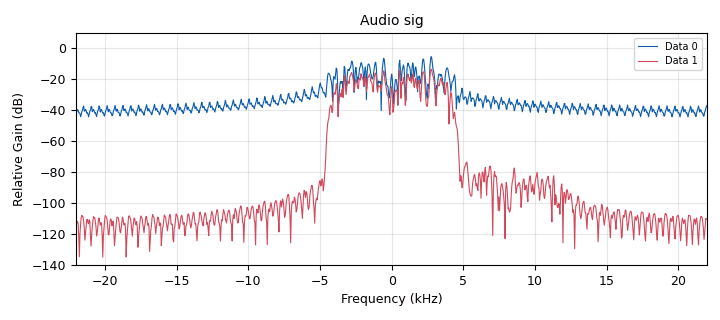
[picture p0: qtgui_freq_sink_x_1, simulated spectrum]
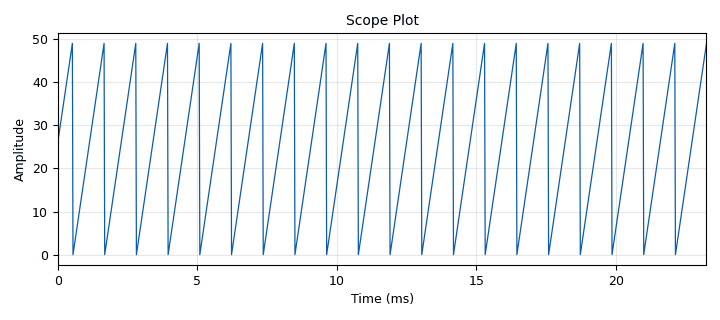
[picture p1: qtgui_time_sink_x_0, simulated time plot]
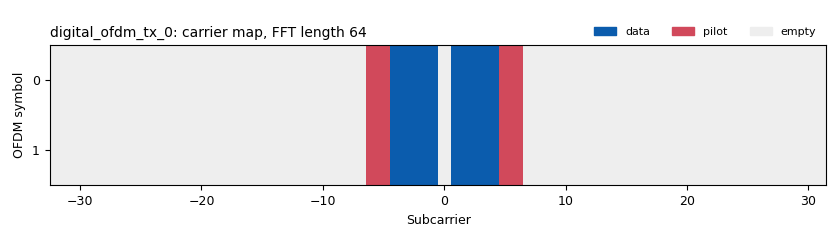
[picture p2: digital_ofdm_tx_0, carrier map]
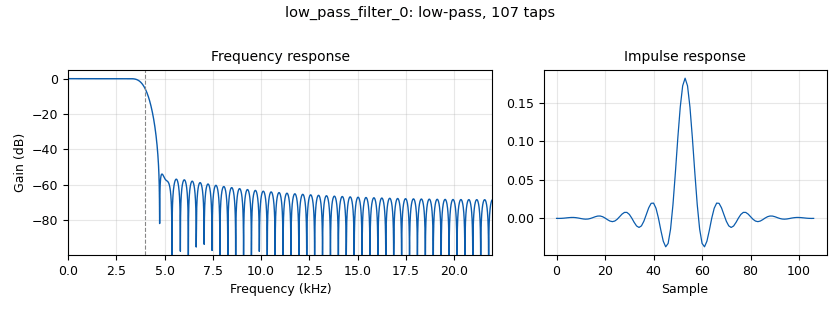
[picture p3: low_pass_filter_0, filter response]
options:
  parameters:
    category: Custom
    description: Transmit a pre-defined signal (a complex sine) as OFDM packets.
    generate_options: qt_gui
    id: ofdm_loopback_example
    output_language: python
    title: OFDM Loopback Example
  states: {}

blocks:
- name: fft_len
  id: variable
  parameters:
    value: '64'
  states: {}
- name: freq_offset
  id: variable_qtgui_range
  parameters:
    label: Frequency Offset (Multiples of Sub-carrier spacing)
    start: '-3'
    step: '.01'
    stop: '3'
    value: '0'
  states: {}
- name: len_tag_key
  id: variable
  parameters:
    value: '"packet_len"'
  states: {}
- name: noise_voltage
  id: variable_qtgui_range
  parameters:
    label: Noise Amplitude
    start: '0'
    step: '.01'
    stop: '1'
    value: '0.1'
  states: {}
- name: packet_len
  id: variable
  parameters:
    value: '50'
  states: {}
- name: samp_rate
  id: variable
  parameters:
    value: '44000'
  states: {}
- name: analog_sig_source_x_0
  id: analog_sig_source_x
  parameters:
    amp: '1'
    freq: '4000'
    offset: '0'
    phase: '0'
    samp_rate: samp_rate
    type: float
    waveform: analog.GR_COS_WAVE
  states: {}
- name: analog_sig_source_x_1
  id: analog_sig_source_x
  parameters:
    amp: '1'
    freq: '4000'
    offset: '0'
    phase: '0'
    samp_rate: samp_rate
    type: float
    waveform: analog.GR_SIN_WAVE
  states: {}
- name: audio_sink_0
  id: audio_sink
  parameters:
    samp_rate: samp_rate
  states: {}
- name: blocks_add_xx_0
  id: blocks_add_xx
  parameters:
    type: float
  states: {}
- name: blocks_complex_to_float_0
  id: blocks_complex_to_float
  parameters: {}
  states: {}
- name: blocks_float_to_complex_0
  id: blocks_float_to_complex
  parameters: {}
  states: {}
- name: blocks_multiply_xx_0
  id: blocks_multiply_xx
  parameters:
    type: float
  states: {}
- name: blocks_multiply_xx_0_0
  id: blocks_multiply_xx
  parameters:
    type: float
  states: {}
- name: blocks_multiply_xx_0_1
  id: blocks_multiply_xx
  parameters:
    type: float
  states: {}
- name: blocks_multiply_xx_0_2
  id: blocks_multiply_xx
  parameters:
    type: float
  states: {}
- name: blocks_stream_to_tagged_stream_0
  id: blocks_stream_to_tagged_stream
  parameters:
    len_tag_key: len_tag_key
    packet_len: packet_len
    type: byte
  states: {}
- name: blocks_tag_debug_0
  id: blocks_tag_debug
  parameters:
    display: 'False'
    name: Rx Packets
    type: byte
  states: {}
- name: blocks_throttle_0
  id: blocks_throttle
  parameters:
    samples_per_second: samp_rate
    type: complex
  states: {}
- name: blocks_uchar_to_float_0
  id: blocks_uchar_to_float
  parameters: {}
  states: {}
- name: blocks_vector_source_x_0
  id: blocks_vector_source_x
  parameters:
    repeat: 'True'
    tags: ()
    type: byte
    vector: range(packet_len)
  states: {}
- name: channels_channel_model_0
  id: channels_channel_model
  parameters:
    block_tags: 'True'
    epsilon: '1.0'
    freq_offset: freq_offset * 1.0/fft_len
    noise_voltage: noise_voltage
    seed: '0'
    taps: 1.0 + 1.0j
  states: {state: bypassed}
- name: digital_ofdm_rx_0
  id: digital_ofdm_rx
  parameters:
    cp_len: fft_len//4
    fft_len: fft_len
    header_mod: '"BPSK"'
    occupied_carriers: ((-4,-3,-2,-1,1,2,3,4),)
    packet_len_key: '"rx_len"'
    payload_mod: '"QPSK"'
    pilot_carriers: ((-6,-5,5,6),)
    pilot_symbols: ((-1,1,-1,1),)
    sync_word1: None
    sync_word2: None
  states: {}
- name: digital_ofdm_tx_0
  id: digital_ofdm_tx
  parameters:
    cp_len: fft_len//4
    fft_len: fft_len
    header_mod: '"BPSK"'
    occupied_carriers: ((-4,-3,-2,-1,1,2,3,4),)
    packet_len_key: len_tag_key
    payload_mod: '"QPSK"'
    pilot_carriers: ((-6,-5,5,6),)
    pilot_symbols: ((-1,1,-1,1),)
    rolloff: '0'
    sync_word1: None
    sync_word2: None
  states: {}
- name: low_pass_filter_0
  id: low_pass_filter
  parameters:
    cutoff_freq: '4000'
    decim: '1'
    gain: '1'
    samp_rate: samp_rate
    type: fir_filter_fff
    width: '1000'
    win: window.WIN_HAMMING
  states: {}
- name: low_pass_filter_0_0
  id: low_pass_filter
  parameters:
    cutoff_freq: '4000'
    decim: '1'
    gain: '1'
    samp_rate: samp_rate
    type: fir_filter_fff
    width: '1000'
    win: window.WIN_HAMMING
  states: {}
- name: qtgui_freq_sink_x_0
  id: qtgui_freq_sink_x
  parameters:
    bw: samp_rate
    fc: '0'
    fftsize: '1024'
    label1: Rx Spectrum
    name: Rx Spectrum
    showports: 'True'
    type: complex
  states: {state: disabled}
- name: qtgui_freq_sink_x_1
  id: qtgui_freq_sink_x
  parameters:
    bw: samp_rate
    fc: '0'
    fftsize: '1024'
    name: '"Audio sig"'
    nconnections: '2'
    type: complex
  states: {}
- name: qtgui_time_sink_x_0
  id: qtgui_time_sink_x
  parameters:
    autoscale: 'True'
    label1: ''
    name: Scope Plot
    size: '1024'
    srate: samp_rate
    type: float
  states: {}
- name: virtual_sink_0
  id: virtual_sink
  parameters:
    stream_id: audio
  states: {}
- name: virtual_sink_0_0
  id: virtual_sink
  parameters:
    stream_id: to_demod
  states: {}
- name: virtual_sink_1
  id: virtual_sink
  parameters:
    stream_id: comp_sig
  states: {}
- name: virtual_source_0
  id: virtual_source
  parameters:
    stream_id: comp_sig
  states: {}
- name: virtual_source_1
  id: virtual_source
  parameters:
    stream_id: audio
  states: {}
- name: virtual_source_2
  id: virtual_source
  parameters:
    stream_id: to_demod
  states: {}

connections:
- [analog_sig_source_x_0, '0', blocks_multiply_xx_0, '0']
- [analog_sig_source_x_0, '0', blocks_multiply_xx_0_2, '0']
- [analog_sig_source_x_1, '0', blocks_multiply_xx_0_0, '1']
- [analog_sig_source_x_1, '0', blocks_multiply_xx_0_1, '0']
- [blocks_add_xx_0, '0', audio_sink_0, '0']
- [blocks_add_xx_0, '0', virtual_sink_0, '0']
- [blocks_complex_to_float_0, '0', blocks_multiply_xx_0, '1']
- [blocks_complex_to_float_0, '1', blocks_multiply_xx_0_0, '0']
- [blocks_float_to_complex_0, '0', qtgui_freq_sink_x_1, '1']
- [blocks_float_to_complex_0, '0', virtual_sink_0_0, '0']
- [blocks_multiply_xx_0, '0', blocks_add_xx_0, '0']
- [blocks_multiply_xx_0_0, '0', blocks_add_xx_0, '1']
- [blocks_multiply_xx_0_1, '0', low_pass_filter_0_0, '0']
- [blocks_multiply_xx_0_2, '0', low_pass_filter_0, '0']
- [blocks_stream_to_tagged_stream_0, '0', digital_ofdm_tx_0, '0']
- [blocks_throttle_0, '0', virtual_sink_1, '0']
- [blocks_uchar_to_float_0, '0', qtgui_time_sink_x_0, '0']
- [blocks_vector_source_x_0, '0', blocks_stream_to_tagged_stream_0, '0']
- [channels_channel_model_0, '0', blocks_throttle_0, '0']
- [digital_ofdm_rx_0, '0', blocks_tag_debug_0, '0']
- [digital_ofdm_rx_0, '0', blocks_uchar_to_float_0, '0']
- [digital_ofdm_tx_0, '0', channels_channel_model_0, '0']
- [low_pass_filter_0, '0', blocks_float_to_complex_0, '0']
- [low_pass_filter_0_0, '0', blocks_float_to_complex_0, '1']
- [virtual_source_0, '0', blocks_complex_to_float_0, '0']
- [virtual_source_0, '0', qtgui_freq_sink_x_1, '0']
- [virtual_source_1, '0', blocks_multiply_xx_0_1, '1']
- [virtual_source_1, '0', blocks_multiply_xx_0_2, '1']
- [virtual_source_2, '0', digital_ofdm_rx_0, '0']
- [virtual_source_2, '0', qtgui_freq_sink_x_0, '0']

metadata:
  file_format: 1
  grc_version: 3.10.2.0
